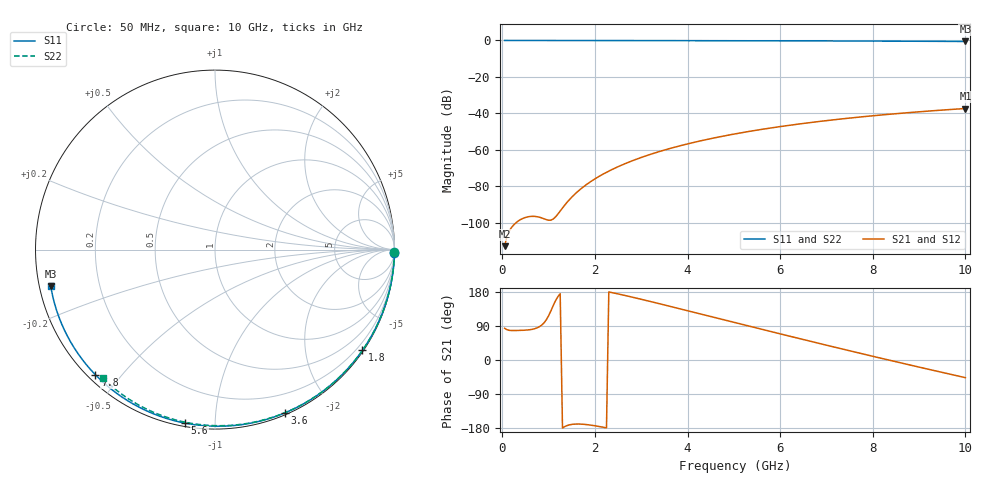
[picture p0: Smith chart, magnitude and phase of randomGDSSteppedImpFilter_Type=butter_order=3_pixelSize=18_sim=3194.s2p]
! freq	dB(S11)	phase(S11)	dB(S12)	phase(S12)
!  dB(S21)	phase(S21)	dB(S22)	phase(S22)
!S-par simulation data
#  GHz  S  DB  R 50
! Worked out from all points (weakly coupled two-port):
!   200 points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, 50 MHz to 10 GHz, reference 50 ohm
!   highest |S21| = -37.37 dB at 10 GHz (marker M1); lowest = -113.0 dB at 50 MHz (marker M2)
!   lowest |S11| = -0.6 dB at 10 GHz (marker M3), VSWR 31.09, Z = 1.63 - j5.48 ohm
!   |S11| at or under -10 dB: nowhere
!   |S22| runs from -0.4 to 0.0 dB; largest |S21 - S12| = 0
!   S11 on the Smith chart (normalised r, x): 50 MHz: open; 1.8 GHz: 0.03, -3.24; 3.6 GHz: 0.02, -1.52; 5.6 GHz: 0.02, -0.84; 7.8 GHz: 0.02, -0.43; 10 GHz: 0.03, -0.11
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0.05  -0.00 -1.0  -112.99 83.8  -112.99 83.8  -0.00 -0.8
0.45  -0.01 -8.7  -97.69 78.4  -97.69 78.4  -0.01 -6.8
0.85  -0.02 -16.4  -97.47 92.0  -97.47 92.0  -0.02 -12.8
1.3  -0.03 -24.9  -92.00 -179.5  -92.00 -179.5  -0.02 -19.5
1.75  -0.04 -33.4  -80.42 -169.6  -80.42 -169.6  -0.03 -26.1
1.8  -0.04 -34.3  -79.47 -170.2  -79.47 -170.2  -0.03 -26.9
2.1  -0.05 -39.9  -74.51 -175.6  -74.51 -175.6  -0.04 -31.3
2.3  -0.06 -43.5  -71.76 179.6  -71.76 179.6  -0.04 -34.2
2.5  -0.06 -47.2  -69.33 174.4  -69.33 174.4  -0.05 -37.0
2.9  -0.07 -54.4  -65.19 163.2  -65.19 163.2  -0.06 -42.8
3.4  -0.08 -63.2  -60.95 148.4  -60.95 148.4  -0.07 -49.8
3.6  -0.09 -66.7  -59.47 142.3  -59.47 142.3  -0.07 -52.6
4.3  -0.11 -78.6  -55.03 120.9  -55.03 120.9  -0.09 -62.1
5.05  -0.14 -91.0  -51.20 97.9  -51.20 97.9  -0.11 -72.1
5.6  -0.17 -99.8  -48.84 81.1  -48.84 81.1  -0.13 -79.2
6.15  -0.19 -108.4  -46.77 64.5  -46.77 64.5  -0.15 -86.1
6.7  -0.23 -116.9  -44.94 48.0  -44.94 48.0  -0.18 -92.9
7.25  -0.27 -125.3  -43.31 31.7  -43.31 31.7  -0.21 -99.5
7.8  -0.31 -133.7  -41.85 15.6  -41.85 15.6  -0.25 -106.0
8.35  -0.36 -142.0  -40.55 -0.3  -40.55 -0.3  -0.29 -112.4
9.2  -0.46 -155.0  -38.79 -24.4  -38.79 -24.4  -0.36 -122.1
10  -0.56 -167.5  -37.37 -46.6  -37.37 -46.6  -0.44 -131.1
